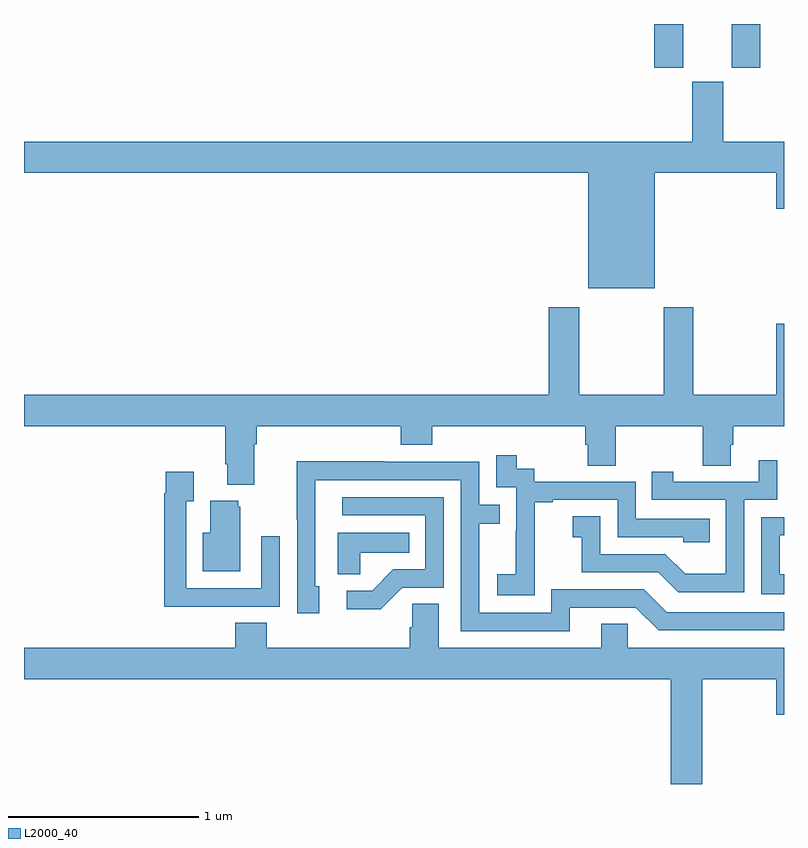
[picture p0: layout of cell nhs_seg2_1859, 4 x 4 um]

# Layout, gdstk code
import gdstk
lib = gdstk.Library(unit=1e-6, precision=1e-09)
def R(c, l, rs):  # rectangles x0, y0, x1, y1
    for r in rs: c.add(gdstk.rectangle(r[:2], r[2:], *l))
def P(c, l, *ps):  # polygons
    for p in ps: c.add(gdstk.Polygon(p, *l))
L2000_40 = (2000, 40)

nhs_seg2_1859 = lib.new_cell('nhs_seg2_1859')
R(nhs_seg2_1859, L2000_40, [(212.318,601.569,212.47,601.8), (212.726,601.569,212.874,601.8)])
P(nhs_seg2_1859, L2000_40, [(212.32,601.016),(212.96,601.016),(212.96,600.828),(213,600.828),(213,601.18),(212.68,601.18),(212.68,601.497),(212.516,601.497),(212.516,601.18),(209,601.18),(209,601.016),(211.97,601.016),(211.97,600.41),(212.32,600.41)],
  [(210.211,599.588),(210.224,599.588),(210.224,599.684),(210.983,599.684),(210.983,599.585),(211.148,599.585),(211.148,599.684),(211.955,599.684),(211.955,599.586),(211.967,599.586),(211.967,599.476),(212.115,599.476),(212.115,599.684),(212.572,599.684),(212.572,599.476),(212.719,599.476),(212.719,599.586),(212.732,599.586),(212.732,599.684),(213,599.684),(213,600.223),(212.96,600.223),(212.96,599.848),(212.523,599.848),(212.523,600.31),(212.368,600.31),(212.368,599.848),(211.923,599.848),(211.923,600.31),(211.763,600.31),(211.763,599.848),(209,599.848),(209,599.684),(210.059,599.684),(210.059,599.482),(210.071,599.482),(210.071,599.375),(210.211,599.375)],
  [(211.689,598.999),(211.688,598.999),(211.688,599.283),(211.783,599.283),(211.783,599.295),(212.124,599.295),(212.124,599.1),(212.469,599.1),(212.469,599.073),(212.609,599.073),(212.609,599.196),(212.22,599.196),(212.22,599.391),(211.686,599.391),(211.686,599.46),(211.594,599.46),(211.594,599.53),(211.485,599.53),(211.485,599.361),(211.59,599.361),(211.59,599.132),(211.589,599.132),(211.589,598.903),(211.491,598.903),(211.491,598.793),(211.689,598.793)],
  [(212.79,599.295),(212.964,599.295),(212.964,599.503),(212.867,599.503),(212.867,599.391),(212.416,599.391),(212.416,599.443),(212.305,599.443),(212.305,599.295),(212.694,599.295),(212.694,598.906),(212.48,598.906),(212.376,599.01),(212.034,599.01),(212.034,599.209),(211.887,599.209),(211.887,599.099),(211.936,599.099),(211.936,598.914),(212.339,598.914),(212.444,598.809),(212.79,598.809)],
  [(211.873,598.728),(212.22,598.728),(212.34,598.608),(213,598.608),(213,598.704),(212.382,598.704),(212.262,598.824),(211.776,598.824),(211.776,598.701),(211.395,598.701),(211.395,599.17),(211.505,599.17),(211.505,599.271),(211.395,599.271),(211.395,599.496),(210.899,599.496),(210.899,599.498),(210.436,599.498),(210.436,599.191),(210.438,599.191),(210.438,598.698),(210.553,598.698),(210.553,598.842),(210.534,598.842),(210.534,599.4),(211.299,599.4),(211.299,598.605),(211.873,598.605)],
  [(210.029,598.734),(210.345,598.734),(210.345,599.104),(210.249,599.104),(210.249,598.83),(209.853,598.83),(209.853,599.287),(209.893,599.287),(209.893,599.443),(209.745,599.443),(209.745,599.33),(209.737,599.33),(209.737,598.733),(210.029,598.733)],
  [(210.99,598.833),(211.209,598.833),(211.209,599.31),(210.675,599.31),(210.675,599.214),(211.113,599.214),(211.113,598.929),(210.944,598.929),(210.833,598.818),(210.699,598.818),(210.699,598.721),(210.877,598.721)],
  [(210.139,599.259),(210.128,599.259),(210.128,599.29),(209.981,599.29),(209.981,599.122),(209.942,599.122),(209.942,598.919),(210.139,598.919)],
  [(213,598.905),(212.977,598.905),(212.977,599.109),(213,599.109),(213,599.205),(212.88,599.205),(212.88,598.8),(213,598.8)],
  [(210.771,599.018),(211.028,599.018),(211.028,599.122),(210.65,599.122),(210.65,598.903),(210.771,598.903)],
  [(212.569,598.352),(212.96,598.352),(212.96,598.164),(213,598.164),(213,598.516),(212.178,598.516),(212.178,598.643),(212.039,598.643),(212.039,598.516),(211.183,598.516),(211.183,598.748),(211.044,598.748),(211.044,598.625),(211.031,598.625),(211.031,598.516),(210.278,598.516),(210.278,598.649),(210.113,598.649),(210.113,598.516),(209,598.516),(209,598.352),(212.405,598.352),(212.405,597.8),(212.569,597.8)])

lib.write_gds('nhs_seg2_1859.gds')
